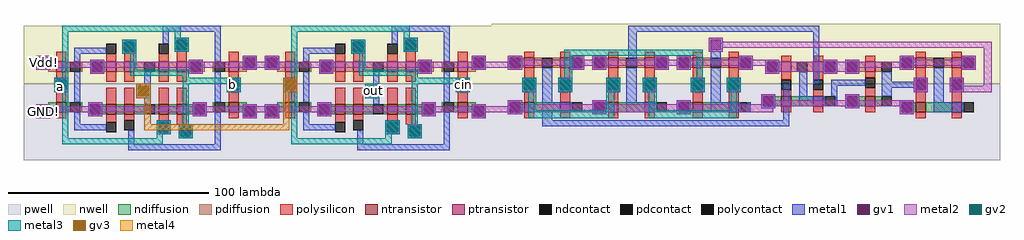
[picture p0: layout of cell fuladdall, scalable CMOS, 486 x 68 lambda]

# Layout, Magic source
magic
tech scmos
<< pwell >>
rect 223 15 317 36
rect 223 -2 483 15
<< metal2 >>
rect 4 44 10 49
rect 102 44 126 47
rect 218 44 242 47
rect 169 30 173 35
rect 4 20 9 25
rect 105 22 129 25
rect 222 22 246 25
<< metal3 >>
rect 13 33 18 38
rect 53 29 60 36
rect 99 33 104 38
rect 126 32 133 39
rect 213 33 218 38
<< gv2 >>
rect 54 30 59 35
rect 127 33 132 38
<< metal4 >>
rect 53 29 60 36
rect 57 16 60 29
rect 126 32 133 39
rect 126 16 129 32
rect 57 13 129 16
<< gv3 >>
rect 54 30 59 35
rect 127 33 132 38
use cout  cout_0
transform 1 0 232 0 1 16
box -2 -3 251 50
use xor2  xor2_1
transform 1 0 152 0 1 42
box -41 -44 81 23
use xor2  xor2_0
transform 1 0 38 0 1 42
box -41 -44 81 23
<< labels >>
rlabel metal3 14 33 16 36 1 a
rlabel metal3 100 34 102 37 1 b
rlabel metal3 215 34 217 37 1 cin
rlabel metal2 169 30 173 35 1 out
rlabel metal2 4 44 10 49 1 Vdd!
rlabel metal2 4 20 9 25 1 GND!
<< end >>

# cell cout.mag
magic
tech scmos
<< nwell >>
rect -2 35 251 50
rect -1 24 251 35
rect -1 23 125 24
rect -1 20 124 23
rect 132 20 251 24
<< pwell >>
rect -1 11 124 20
rect 132 18 251 20
rect 131 16 251 18
rect -1 10 127 11
rect 129 10 251 16
rect -1 -3 251 10
<< metal1 >>
rect 66 46 161 49
rect 66 29 70 46
rect 106 36 113 43
rect 107 30 112 36
rect 24 15 27 20
rect 66 16 69 21
rect 108 17 111 22
rect 158 20 161 46
rect 195 21 197 23
rect 23 2 28 14
rect 125 6 127 11
rect 143 2 146 20
rect 194 18 211 21
rect 219 17 222 22
rect 23 -1 146 2
<< metal2 >>
rect 106 41 113 43
rect 106 38 247 41
rect 106 36 113 38
rect 6 28 12 33
rect 36 29 61 32
rect 79 29 104 32
rect 120 29 139 32
rect 175 28 207 31
rect 14 17 19 22
rect 31 16 38 23
rect 55 16 62 23
rect 73 16 80 23
rect 115 16 122 23
rect 243 19 247 38
rect 231 16 247 19
rect 7 10 13 11
rect 7 6 138 10
rect 176 9 208 12
<< gv1 >>
rect 107 37 112 42
<< metal3 >>
rect 34 34 103 37
rect 34 23 38 34
rect 100 23 103 34
rect 13 16 20 23
rect 31 16 38 23
rect 55 16 62 23
rect 73 16 80 23
rect 97 16 104 23
rect 115 16 122 23
rect 16 7 20 16
rect 55 7 59 16
rect 16 3 59 7
rect 76 7 80 16
rect 117 7 120 16
rect 76 3 120 7
<< gv2 >>
rect 14 17 19 22
rect 32 17 37 22
rect 56 17 61 22
rect 74 17 79 22
rect 98 17 103 22
rect 116 17 121 22
use nand2  nand2_3
transform 1 0 214 0 1 22
box -20 -22 30 16
use and2  and2_0
transform 1 0 147 0 1 22
box -21 -19 60 15
use nand2  nand2_0
transform 1 0 19 0 1 22
box -20 -22 30 16
use nand2  nand2_1
transform 1 0 61 0 1 22
box -20 -22 30 16
use nand2  nand2_2
transform 1 0 103 0 1 22
box -20 -22 30 16
<< labels >>
rlabel metal2 6 28 12 33 1 Vdd!
rlabel metal2 14 17 19 22 1 a
rlabel metal2 32 17 37 22 1 b
rlabel metal2 74 17 79 22 1 cin
rlabel metal1 24 15 27 20 1 ab
rlabel metal1 66 16 69 21 1 acin
rlabel metal1 108 17 111 22 1 bcin
rlabel metal2 10 7 13 11 1 GND!
rlabel metal1 195 18 197 23 1 andout
rlabel metal1 219 17 222 22 1 cout
<< end >>

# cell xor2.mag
magic
tech scmos
<< nwell >>
rect -41 -6 81 23
<< pwell >>
rect -41 -42 81 -6
rect -41 -44 76 -42
<< ntransistor >>
rect -25 -20 -20 -15
rect 0 -21 5 -16
rect 9 -21 14 -16
rect 26 -21 31 -16
rect 35 -21 40 -16
rect 61 -20 66 -15
<< ptransistor >>
rect -25 0 -20 5
rect 0 0 5 5
rect 9 0 14 5
rect 26 0 31 5
rect 35 0 40 5
rect 61 0 66 5
<< ndiffusion >>
rect -35 -22 -34 -17
rect -29 -20 -25 -15
rect -20 -20 -18 -15
rect -13 -20 -12 -15
rect -29 -22 -28 -20
rect -9 -21 -8 -16
rect -3 -21 0 -16
rect 5 -21 9 -16
rect 14 -21 19 -16
rect 24 -21 26 -16
rect 31 -21 35 -16
rect 40 -21 44 -16
rect 53 -20 54 -15
rect 59 -20 61 -15
rect 66 -17 70 -15
rect 66 -20 69 -17
rect 68 -22 69 -20
rect 74 -22 75 -17
<< pdiffusion >>
rect -35 2 -34 7
rect -29 5 -28 7
rect 68 5 69 7
rect -29 0 -25 5
rect -20 0 -18 5
rect -13 0 -12 5
rect -8 0 -7 5
rect -2 0 0 5
rect 5 0 9 5
rect 14 0 19 5
rect 24 0 26 5
rect 31 0 35 5
rect 40 0 42 5
rect 47 0 49 5
rect 53 0 54 5
rect 59 0 61 5
rect 66 2 69 5
rect 74 2 75 7
rect 66 0 70 2
<< ndcontact >>
rect -34 -22 -29 -17
rect -18 -20 -13 -15
rect -8 -21 -3 -16
rect 19 -21 24 -16
rect 44 -21 49 -16
rect 54 -20 59 -15
rect 69 -22 74 -17
<< pdcontact >>
rect -34 2 -29 7
rect -18 0 -13 5
rect -7 0 -2 5
rect 19 0 24 5
rect 42 0 47 5
rect 54 0 59 5
rect 69 2 74 7
<< polysilicon >>
rect -25 5 -20 10
rect 0 5 5 9
rect 9 5 14 10
rect 26 5 31 9
rect 35 5 40 11
rect 61 5 66 10
rect -25 -4 -20 0
rect 0 -5 5 0
rect 9 -5 14 0
rect 26 -5 31 0
rect 35 -5 40 0
rect 61 -4 66 0
rect -25 -15 -20 -9
rect 0 -16 5 -8
rect 9 -16 14 -8
rect 26 -16 31 -8
rect 35 -16 40 -8
rect 61 -15 66 -9
rect -25 -23 -20 -20
rect 0 -25 5 -21
rect 9 -24 14 -21
rect 26 -25 31 -21
rect 35 -26 40 -21
rect 61 -23 66 -20
rect 36 -27 42 -26
<< polycontact >>
rect 0 9 5 14
rect 9 10 14 15
rect 26 9 31 14
rect 35 11 40 16
rect -25 -9 -20 -4
rect 61 -9 66 -4
rect 0 -30 5 -25
rect 9 -29 14 -24
rect 26 -30 31 -25
rect 37 -32 42 -27
<< metal1 >>
rect 28 20 57 23
rect 8 15 15 16
rect -16 9 0 12
rect 8 10 9 15
rect 14 10 15 15
rect 28 14 31 20
rect 8 9 15 10
rect 34 16 41 17
rect 34 11 35 16
rect 40 11 41 16
rect 34 10 41 11
rect -35 7 -28 8
rect -35 2 -34 7
rect -29 2 -28 7
rect -16 5 -13 9
rect -35 1 -28 2
rect -26 -4 -19 -3
rect -26 -9 -25 -4
rect -20 -9 -19 -4
rect -26 -10 -19 -9
rect -16 -15 -13 0
rect -8 5 -1 6
rect 41 5 48 6
rect -8 0 -7 5
rect -2 0 -1 5
rect -8 -1 -1 0
rect 41 0 42 5
rect 47 0 48 5
rect 19 -6 22 0
rect 41 -1 48 0
rect 54 5 57 20
rect 68 7 75 8
rect 68 2 69 7
rect 74 2 75 7
rect 68 1 75 2
rect 15 -13 22 -6
rect -35 -17 -28 -16
rect -35 -22 -34 -17
rect -29 -22 -28 -17
rect -35 -23 -28 -22
rect -16 -26 -13 -20
rect -9 -16 -2 -15
rect -9 -21 -8 -16
rect -3 -21 -2 -16
rect 19 -16 22 -13
rect 54 -15 57 0
rect 60 -4 67 -3
rect 60 -9 61 -4
rect 66 -9 67 -4
rect 60 -10 67 -9
rect 43 -16 50 -15
rect 43 -21 44 -16
rect 49 -21 50 -16
rect -9 -22 -2 -21
rect 43 -22 50 -21
rect 68 -17 75 -16
rect -16 -29 0 -26
rect 11 -36 14 -29
rect 25 -25 32 -24
rect 25 -30 26 -25
rect 31 -30 32 -25
rect 25 -31 32 -30
rect 36 -27 43 -26
rect 36 -32 37 -27
rect 42 -32 43 -27
rect 36 -33 43 -32
rect 54 -36 57 -20
rect 68 -22 69 -17
rect 74 -22 75 -17
rect 68 -23 75 -22
rect 11 -39 57 -36
<< metal2 >>
rect 8 9 15 16
rect 34 10 41 17
rect -35 5 -28 8
rect -8 5 -1 6
rect 41 5 48 6
rect 68 5 75 8
rect -35 2 75 5
rect -35 1 -28 2
rect -8 -1 -1 2
rect 41 -1 48 2
rect 68 1 75 2
rect -26 -10 -19 -3
rect 15 -13 22 -6
rect 60 -10 67 -3
rect -35 -17 -28 -16
rect -9 -17 -2 -15
rect 43 -17 50 -15
rect 68 -17 75 -16
rect -35 -20 75 -17
rect -35 -23 -28 -20
rect -9 -22 -2 -20
rect 43 -22 50 -20
rect 68 -23 75 -20
rect 25 -31 32 -24
rect 36 -33 43 -26
<< gv1 >>
rect 9 10 14 15
rect 35 11 40 16
rect -34 2 -29 7
rect -7 0 -2 5
rect 42 0 47 5
rect 69 2 74 7
rect -25 -9 -20 -4
rect 16 -12 21 -7
rect 61 -9 66 -4
rect -34 -22 -29 -17
rect -8 -21 -3 -16
rect 44 -21 49 -16
rect 69 -22 74 -17
rect 26 -30 31 -25
rect 37 -32 42 -27
<< metal3 >>
rect -22 20 37 23
rect -22 -3 -19 20
rect 34 17 37 20
rect 8 9 15 16
rect 34 10 41 17
rect 12 1 15 9
rect 12 -2 41 1
rect -26 -10 -19 -3
rect 38 -3 41 -2
rect 38 -6 67 -3
rect -22 -33 -19 -10
rect 15 -13 22 -6
rect 25 -31 32 -24
rect 38 -26 41 -6
rect 60 -10 67 -6
rect 25 -33 28 -31
rect 36 -33 43 -26
rect -22 -36 28 -33
<< gv2 >>
rect 9 10 14 15
rect 35 11 40 16
rect -25 -9 -20 -4
rect 61 -9 66 -4
rect 26 -30 31 -25
rect 37 -32 42 -27
<< labels >>
rlabel gv2 63 -7 64 -6 1 b
rlabel metal1 20 -9 21 -8 1 out
rlabel gv2 -23 -7 -22 -6 1 a
rlabel gv1 -32 4 -31 5 1 Vdd!
rlabel gv1 -32 -20 -31 -19 1 GND!
<< end >>

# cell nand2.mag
magic
tech scmos
<< nwell >>
rect -20 -2 28 16
<< pwell >>
rect -20 -22 30 -2
<< ntransistor >>
rect -5 -16 0 -11
rect 13 -16 18 -11
<< ptransistor >>
rect -5 6 0 11
rect 13 6 18 11
<< ndiffusion >>
rect -7 -16 -5 -11
rect 0 -16 13 -11
rect 18 -16 19 -11
<< pdiffusion >>
rect -7 6 -5 11
rect 0 6 4 11
rect 9 6 13 11
rect 18 6 19 11
<< ndcontact >>
rect -12 -16 -7 -11
rect 19 -16 24 -11
<< pdcontact >>
rect -12 6 -7 11
rect 4 6 9 11
rect 19 6 24 11
<< polysilicon >>
rect -5 11 0 14
rect 13 11 18 14
rect -5 0 0 6
rect -5 -11 0 -5
rect 13 0 18 6
rect 13 -11 18 -5
rect -5 -19 0 -16
rect 13 -19 18 -16
<< polycontact >>
rect -5 -5 0 0
rect 13 -5 18 0
<< metal1 >>
rect -13 11 -6 12
rect 18 11 25 12
rect -13 6 -12 11
rect -7 6 -6 11
rect -13 5 -6 6
rect -6 0 1 1
rect -6 -5 -5 0
rect 0 -5 1 0
rect -6 -6 1 -5
rect -13 -11 -6 -10
rect -13 -16 -12 -11
rect -7 -16 -6 -11
rect 4 -11 9 6
rect 18 6 19 11
rect 24 6 25 11
rect 18 5 25 6
rect 12 0 19 1
rect 12 -5 13 0
rect 18 -5 19 0
rect 12 -6 19 -5
rect 4 -16 19 -11
rect -13 -17 -6 -16
<< metal2 >>
rect -13 10 -6 12
rect 18 10 25 12
rect -13 7 25 10
rect -13 5 -6 7
rect 18 5 25 7
rect -6 -6 1 1
rect 12 -6 19 1
rect -13 -17 -6 -10
<< gv1 >>
rect -12 6 -7 11
rect 19 6 24 11
rect -5 -5 0 0
rect 13 -5 18 0
rect -12 -16 -7 -11
<< labels >>
rlabel pdcontact -10 8 -9 9 1 Vdd!
rlabel polycontact -3 -3 -2 -2 1 a
rlabel gv1 -11 -14 -9 -13 1 GND!
rlabel metal1 6 -3 7 -2 1 out
rlabel polycontact 15 -3 16 -2 1 b
<< end >>

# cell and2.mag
magic
tech scmos
<< nwell >>
rect -21 -2 60 15
<< pwell >>
rect -21 -19 60 -2
<< ntransistor >>
rect -5 -13 0 -8
rect 11 -13 16 -8
rect 37 -13 42 -8
<< ptransistor >>
rect -5 4 0 9
rect 11 4 16 9
rect 37 4 42 9
<< ndiffusion >>
rect -9 -13 -5 -8
rect 0 -13 11 -8
rect 16 -13 17 -8
rect 33 -13 37 -8
rect 42 -13 45 -8
<< pdiffusion >>
rect -7 4 -5 9
rect 0 4 3 9
rect 8 4 11 9
rect 16 4 17 9
rect 33 4 37 9
rect 42 4 45 9
<< ndcontact >>
rect -14 -13 -9 -8
rect 17 -13 22 -8
rect 28 -13 33 -8
rect 45 -13 50 -8
<< pdcontact >>
rect -12 4 -7 9
rect 3 4 8 9
rect 17 4 22 9
rect 28 4 33 9
rect 45 4 50 9
<< polysilicon >>
rect -5 9 0 12
rect 11 9 16 12
rect 37 9 42 12
rect -5 0 0 4
rect -5 -8 0 -5
rect 11 0 16 4
rect 11 -8 16 -5
rect 37 1 42 4
rect 37 -8 42 -4
rect -5 -16 0 -13
rect 11 -16 16 -13
rect 37 -16 42 -13
<< polycontact >>
rect -5 -5 0 0
rect 11 -5 16 0
rect 37 -4 42 1
<< metal1 >>
rect -13 9 -6 10
rect 16 9 23 10
rect -13 4 -12 9
rect -7 4 -6 9
rect -13 3 -6 4
rect -15 -8 -8 -7
rect -15 -13 -14 -8
rect -9 -13 -8 -8
rect 4 -8 8 4
rect 16 4 17 9
rect 22 4 23 9
rect 16 3 23 4
rect 27 9 34 10
rect 27 4 28 9
rect 33 4 34 9
rect 27 3 34 4
rect 20 -3 37 0
rect 20 -8 23 -3
rect 4 -13 17 -8
rect 22 -13 23 -8
rect 27 -8 34 -7
rect 27 -13 28 -8
rect 33 -13 34 -8
rect 45 -8 50 4
rect -15 -14 -8 -13
rect 27 -14 34 -13
<< metal2 >>
rect -13 9 -6 10
rect 16 9 23 10
rect 27 9 34 10
rect -13 4 34 9
rect -13 3 -6 4
rect 16 3 23 4
rect 27 3 34 4
rect -15 -10 -8 -7
rect 27 -10 34 -7
rect -15 -13 34 -10
rect -15 -14 -8 -13
rect 27 -14 34 -13
<< gv1 >>
rect -12 4 -7 9
rect 17 4 22 9
rect 28 4 33 9
rect -14 -13 -9 -8
rect 28 -13 33 -8
<< labels >>
rlabel pdcontact -10 6 -9 7 1 Vdd!
rlabel polycontact -3 -3 -2 -2 1 a
rlabel polycontact 13 -3 14 -2 1 b
rlabel metal1 47 -2 49 -1 1 out
rlabel ndcontact -12 -11 -11 -10 1 GND!
<< end >>
